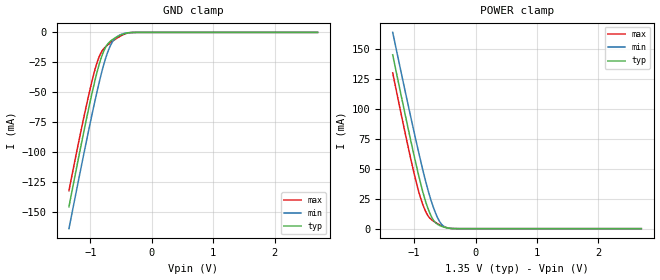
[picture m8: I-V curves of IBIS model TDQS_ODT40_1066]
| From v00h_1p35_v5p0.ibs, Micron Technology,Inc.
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| MODEL TDQS_ODT40_1066 (TDQS Terminator Model with 40ohm ODT, 800/1066Mbps)
[Model]   TDQS_ODT40_1066
Model_type   Terminator
|   typ   min   max
|C_comp   1.023pF   0.931pF   1.130pF
C_comp_power_clamp   0.5115pF   0.4655pF   0.5650pF
C_comp_gnd_clamp   0.5115pF   0.4655pF   0.5650pF
| Note: C_comp changes when the ODT circuit is enabled.
[Voltage Range]   1.3500V   1.2830V   1.4250V
| Junction Temperature (Ambient temp is 35C typ, 95C min, 0C max)
[Temperature Range]   50.0   110.0   0.0
[Add Submodel]
| Submodel Name   Mode
40ohm_ODT_1066   Non-Driving
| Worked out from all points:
|   GND clamp passes 1 mA (typ) near -0.44 V on its own axis
|   POWER clamp passes 1 mA (typ) near -0.50 V on its own axis
[GND Clamp]
|   Voltage   I(typ)   I(min)   I(max)
-1.35V    -145.9mA   -164.2mA   -132.5mA
-1.21V    -109.2mA   -127.8mA   -96.32mA
-1.08V    -76.15mA   -94.69mA   -64.51mA
-980mV    -52.18mA   -70.05mA   -41.89mA
-900mV    -34.79mA   -51.26mA   -26.51mA
-820mV    -20.6mA    -33.99mA   -16.33mA
-730mV    -10.55mA   -18.13mA   -10.98mA
-655mV    -6.559mA   -9.106mA   -7.964mA
-575mV    -3.962mA   -3.912mA   -5.074mA
-470mV    -1.479mA   -1.183mA   -1.987mA
-330mV    -103.8uA   -97.16uA   -126.9uA
2.7V      0A         0A         0A
[POWER Clamp]
|   Voltage   I(typ)   I(min)   I(max)
-1.35V    145mA      163.7mA    129.9mA
-1.175V   102mA      121.3mA    86.46mA
-1.05V    72.12mA    91.74mA    56.89mA
-960mV    51.56mA    71.02mA    37.44mA
-885mV    35.64mA    54.4mA     23.85mA
-795mV    19.66mA    35.93mA    12.48mA
-710mV    9.111mA    21.19mA    7.162mA
-610mV    3.316mA    8.179mA    3.921mA
-525mV    1.394mA    2.274mA    1.814mA
-445mV    434.6uA    531.8uA    556.5uA
-280mV    9.752uA    16.13uA    7.687uA
2.7V      0A         0A         0A
